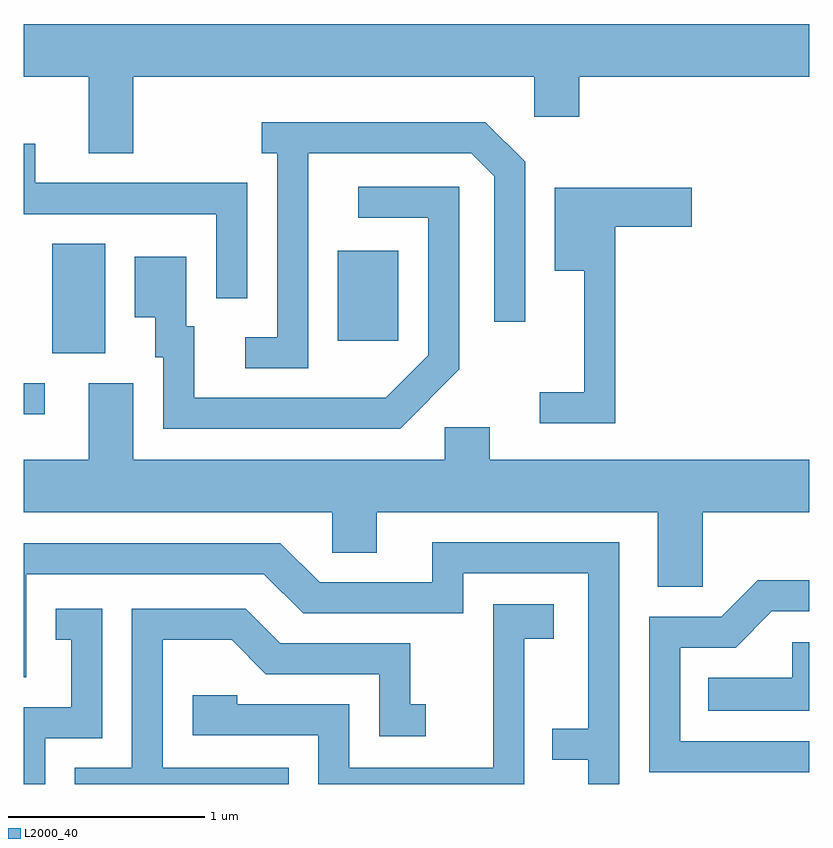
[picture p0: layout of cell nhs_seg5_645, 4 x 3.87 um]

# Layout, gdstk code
import gdstk
lib = gdstk.Library(unit=1e-6, precision=1e-09)
def R(c, l, rs):  # rectangles x0, y0, x1, y1
    for r in rs: c.add(gdstk.rectangle(r[:2], r[2:], *l))
def P(c, l, *ps):  # polygons
    for p in ps: c.add(gdstk.Polygon(p, *l))
L2000_40 = (2000, 40)

nhs_seg5_645 = lib.new_cell('nhs_seg5_645')
R(nhs_seg5_645, L2000_40, [(203.611,1463.956,203.718,1464.114), (203.756,1464.266,204.024,1464.824), (205.211,1464.331,205.519,1464.789)])
P(nhs_seg5_645, L2000_40, [(204.169,1465.676),(206.211,1465.676),(206.211,1465.471),(206.439,1465.471),(206.439,1465.676),(207.611,1465.676),(207.611,1465.944),(203.611,1465.944),(203.611,1465.676),(203.941,1465.676),(203.941,1465.286),(204.169,1465.286)],
  [(205.059,1465.286),(205.889,1465.286),(206.006,1465.169),(206.006,1464.428),(206.164,1464.428),(206.164,1465.242),(205.962,1465.444),(204.823,1465.444),(204.823,1465.286),(204.901,1465.286),(204.901,1464.349),(204.738,1464.349),(204.738,1464.191),(205.059,1464.191)],
  [(204.749,1465.134),(203.669,1465.134),(203.669,1465.334),(203.611,1465.334),(203.611,1464.976),(204.591,1464.976),(204.591,1464.548),(204.749,1464.548)],
  [(205.829,1464.184),(205.829,1465.114),(205.313,1465.114),(205.313,1464.956),(205.671,1464.956),(205.671,1464.257),(205.454,1464.039),(204.479,1464.039),(204.479,1464.404),(204.439,1464.404),(204.439,1464.759),(204.176,1464.759),(204.176,1464.451),(204.281,1464.451),(204.281,1464.246),(204.321,1464.246),(204.321,1463.881),(205.527,1463.881)],
  [(206.624,1464.911),(207.014,1464.911),(207.014,1465.109),(206.316,1465.109),(206.316,1464.686),(206.466,1464.686),(206.466,1464.069),(206.238,1464.069),(206.238,1463.911),(206.624,1463.911)],
  [(207.069,1463.456),(207.611,1463.456),(207.611,1463.724),(205.984,1463.724),(205.984,1463.889),(205.756,1463.889),(205.756,1463.724),(204.169,1463.724),(204.169,1464.114),(203.941,1464.114),(203.941,1463.724),(203.611,1463.724),(203.611,1463.456),(205.181,1463.456),(205.181,1463.251),(205.409,1463.251),(205.409,1463.456),(206.841,1463.456),(206.841,1463.076),(207.069,1463.076)],
  [(206.644,1463.304),(205.691,1463.304),(205.691,1463.099),(205.117,1463.099),(204.917,1463.299),(203.611,1463.299),(203.611,1462.616),(203.624,1462.616),(203.624,1463.141),(204.834,1463.141),(205.034,1462.941),(205.849,1462.941),(205.849,1463.146),(206.486,1463.146),(206.486,1462.354),(206.303,1462.354),(206.303,1462.196),(206.486,1462.196),(206.486,1462.072),(206.644,1462.072)],
  [(207.611,1462.289),(206.954,1462.289),(206.954,1462.766),(207.237,1462.766),(207.422,1462.951),(207.611,1462.951),(207.611,1463.109),(207.349,1463.109),(207.164,1462.924),(206.796,1462.924),(206.796,1462.131),(207.611,1462.131)],
  [(206.159,1462.811),(206.309,1462.811),(206.309,1462.989),(206.001,1462.989),(206.001,1462.154),(205.269,1462.154),(205.269,1462.479),(204.699,1462.479),(204.699,1462.524),(204.471,1462.524),(204.471,1462.321),(205.111,1462.321),(205.111,1462.072),(206.159,1462.072)],
  [(204.959,1462.154),(204.319,1462.154),(204.319,1462.806),(204.669,1462.806),(204.844,1462.631),(205.421,1462.631),(205.421,1462.316),(205.658,1462.316),(205.658,1462.479),(205.579,1462.479),(205.579,1462.789),(204.917,1462.789),(204.742,1462.964),(204.161,1462.964),(204.161,1462.154),(203.871,1462.154),(203.871,1462.072),(204.959,1462.072)],
  [(203.719,1462.306),(204.009,1462.306),(204.009,1462.964),(203.773,1462.964),(203.773,1462.806),(203.851,1462.806),(203.851,1462.464),(203.611,1462.464),(203.611,1462.072),(203.719,1462.072)],
  [(207.611,1462.794),(207.526,1462.794),(207.526,1462.614),(207.098,1462.614),(207.098,1462.446),(207.611,1462.446)])

lib.write_gds('nhs_seg5_645.gds')
